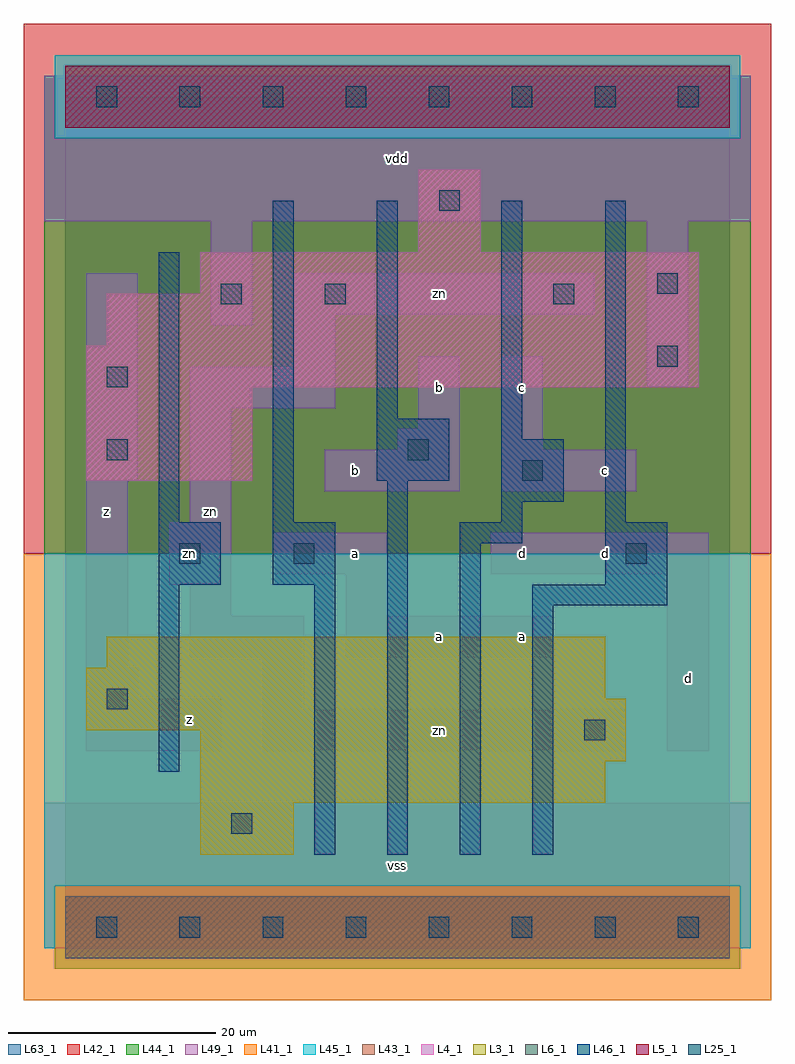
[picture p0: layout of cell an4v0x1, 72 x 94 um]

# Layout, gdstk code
import gdstk
lib = gdstk.Library(unit=1e-6, precision=1e-09)
def R(c, l, rs):  # rectangles x0, y0, x1, y1
    for r in rs: c.add(gdstk.rectangle(r[:2], r[2:], *l))
def A(c, l, x, y, w, h, nx, ny, dx, dy):  # array of equal rectangles
    R(c, l, [(x+i*dx, y+j*dy, x+i*dx+w, y+j*dy+h) for i in range(nx) for j in range(ny)])
L3_1 = (3, 1)
L4_1 = (4, 1)
L5_1 = (5, 1)
L6_1 = (6, 1)
L25_1 = (25, 1)
L41_1 = (41, 1)
L42_1 = (42, 1)
L43_1 = (43, 1)
L44_1 = (44, 1)
L45_1 = (45, 1)
L46_1 = (46, 1)
L49_1 = (49, 1)
L63_1 = (63, 1)

an4v0x1 = lib.new_cell('an4v0x1')
R(an4v0x1, L3_1, [(13,7,22,12), (13,12,52,16), (13,16,54,19), (2,19,54,22), (2,22,52,25), (4,25,52,28)])
R(an4v0x1, L4_1, [(2,43,18,52), (2,52,61,56), (4,56,61,61), (13,61,61,65), (34,65,40,73)])
R(an4v0x1, L5_1, [(0,77,64,83)])
R(an4v0x1, L6_1, [(0,-3,64,3), (0,-3,64,3)])
A(an4v0x1, L25_1, 3, -1, 2, 2, 8, 2, 8, 80)
R(an4v0x1, L25_1, [(16,9,18,11), (50,18,52,20), (4,21,6,23), (11,35,13,37), (22,35,24,37), (54,35,56,37), (44,43,46,45), (4,45,6,47), (33,45,35,47), (4,52,6,54), (57,54,59,56), (15,60,17,62), (25,60,27,62), (47,60,49,62), (57,61,59,63), (36,69,38,71)])
R(an4v0x1, L41_1, [(-4,-7,68,36)])
R(an4v0x1, L42_1, [(-4,36,68,87)])
R(an4v0x1, L43_1, [(0,-3,64,3), (13,7,22,12), (13,12,52,16), (13,16,54,19), (2,19,54,22), (2,22,52,25), (4,25,52,28), (2,43,18,52), (2,52,61,56), (4,56,61,61), (13,61,61,65), (34,65,40,73), (0,77,64,83)])
R(an4v0x1, L44_1, [(-1,-4,65,4), (-2,36,66,76), (-2,76,-1,82), (65,76,66,82)])
R(an4v0x1, L45_1, [(-2,-2,-1,4), (65,-2,66,4), (-2,4,66,36), (-1,76,65,84)])
R(an4v0x1, L46_1, [(24,7,26,33), (31,7,33,43), (38,7,40,37), (45,7,47,31), (9,15,11,33), (45,31,58,33), (9,33,15,39), (20,33,26,39), (52,33,58,39), (38,37,44,39), (9,39,11,65), (20,39,22,70), (42,39,44,41), (52,39,54,70), (42,41,48,47), (30,43,37,49), (42,47,44,70), (30,49,32,70)])
R(an4v0x1, L49_1, [(-2,-2,66,12), (2,17,15,22), (19,17,54,21), (58,17,62,34), (19,21,23,26), (2,22,7,25), (2,25,6,43), (12,26,23,30), (27,26,47,30), (12,30,16,33), (27,30,31,34), (10,33,16,39), (20,34,31,38), (41,34,62,38), (12,39,16,50), (25,42,38,46), (42,42,55,46), (2,43,7,63), (32,46,38,48), (42,46,46,55), (34,48,38,55), (12,50,26,54), (56,52,60,68), (22,54,26,59), (14,58,18,68), (22,59,51,63), (-2,68,66,82)])
R(an4v0x1, L63_1, [(0,0,64,80)])
an4v0x1.add(gdstk.Label('zn', (12,36), layer=49, texttype=1))
an4v0x1.add(gdstk.Label('z', (4,40), layer=49, texttype=1))
an4v0x1.add(gdstk.Label('z', (12,20), layer=49, texttype=1))
an4v0x1.add(gdstk.Label('zn', (14,40), layer=49, texttype=1))
an4v0x1.add(gdstk.Label('vss', (32,6), layer=49, texttype=1))
an4v0x1.add(gdstk.Label('a', (36,28), layer=49, texttype=1))
an4v0x1.add(gdstk.Label('a', (28,36), layer=49, texttype=1))
an4v0x1.add(gdstk.Label('b', (28,44), layer=49, texttype=1))
an4v0x1.add(gdstk.Label('b', (36,52), layer=49, texttype=1))
an4v0x1.add(gdstk.Label('vdd', (32,74), layer=49, texttype=1))
an4v0x1.add(gdstk.Label('a', (44,28), layer=49, texttype=1))
an4v0x1.add(gdstk.Label('d', (44,36), layer=49, texttype=1))
an4v0x1.add(gdstk.Label('c', (44,52), layer=49, texttype=1))
an4v0x1.add(gdstk.Label('zn', (36,61), layer=49, texttype=1))
an4v0x1.add(gdstk.Label('zn', (36,19), layer=49, texttype=1))
an4v0x1.add(gdstk.Label('d', (60,24), layer=49, texttype=1))
an4v0x1.add(gdstk.Label('d', (52,36), layer=49, texttype=1))
an4v0x1.add(gdstk.Label('c', (52,44), layer=49, texttype=1))

lib.write_gds('an4v0x1.gds')
